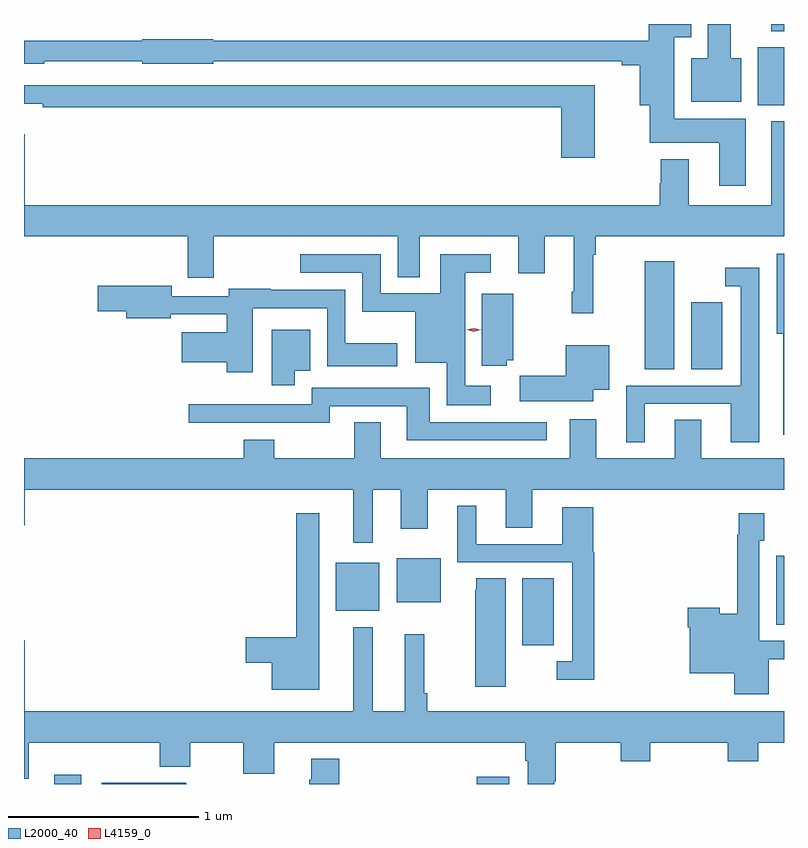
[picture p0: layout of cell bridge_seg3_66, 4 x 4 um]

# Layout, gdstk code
import gdstk
lib = gdstk.Library(unit=1e-6, precision=1e-09)
def R(c, l, rs):  # rectangles x0, y0, x1, y1
    for r in rs: c.add(gdstk.rectangle(r[:2], r[2:], *l))
def P(c, l, *ps):  # polygons
    for p in ps: c.add(gdstk.Polygon(p, *l))
L2000_40 = (2000, 40)
L4159_0 = (4159, 0)

bridge_seg3_66 = lib.new_cell('bridge_seg3_66')
R(bridge_seg3_66, L2000_40, [(572.921,674.058,573.061,674.107), (575.144,674.058,575.314,674.095), (575.384,674.787,575.548,675.14), (576.719,674.896,576.761,675.259), (574.403,674.969,574.63,675.223), (574.724,675.014,574.954,675.247), (576.029,676.24,576.184,676.81), (576.272,676.24,576.436,676.594), (576.623,677.63,576.761,677.935), (576.695,678.02,576.761,678.058)])
P(bridge_seg3_66, L2000_40, [(576.535,677.878),(576.481,677.878),(576.481,678.058),(576.359,678.058),(576.359,677.878),(576.272,677.878),(576.272,677.648),(576.535,677.648)],
  [(576.559,677.56),(576.184,677.56),(576.184,677.987),(576.274,677.987),(576.274,678.058),(576.05,678.058),(576.05,677.971),(573.756,677.971),(573.756,677.979),(573.384,677.979),(573.384,677.971),(572.761,677.971),(572.761,677.849),(572.868,677.849),(572.868,677.862),(573.384,677.862),(573.384,677.849),(573.756,677.849),(573.756,677.862),(575.906,677.862),(575.906,677.842),(576.002,677.842),(576.002,677.63),(576.055,677.63),(576.055,677.432),(576.419,677.432),(576.419,677.208),(576.559,677.208)],
  [(575.766,677.736),(572.761,677.736),(572.761,677.639),(572.86,677.639),(572.86,677.62),(575.588,677.62),(575.588,677.355),(575.766,677.355)],
  [(575.756,676.844),(575.771,676.844),(575.771,676.94),(576.761,676.94),(576.761,677.545),(576.695,677.545),(576.695,677.104),(576.259,677.104),(576.259,677.347),(576.112,677.347),(576.112,677.22),(576.107,677.22),(576.107,677.104),(572.764,677.104),(572.764,677.479),(572.761,677.479),(572.761,676.94),(573.623,676.94),(573.623,676.722),(573.759,676.722),(573.759,676.94),(574.727,676.94),(574.727,676.726),(574.843,676.726),(574.843,676.94),(575.363,676.94),(575.363,676.746),(575.503,676.746),(575.503,676.94),(575.654,676.94),(575.654,676.648),(575.643,676.648),(575.643,676.536),(575.756,676.536)],
  [(576.761,676.849),(576.722,676.849),(576.722,676.427),(576.756,676.427),(576.756,675.897),(576.761,675.897)],
  [(575.218,676.153),(575.083,676.153),(575.083,676.749),(575.218,676.749),(575.218,676.845),(574.952,676.845),(574.952,676.641),(574.638,676.641),(574.638,676.845),(574.215,676.845),(574.215,676.749),(574.542,676.749),(574.542,676.544),(574.82,676.544),(574.82,676.274),(574.986,676.274),(574.986,676.052),(575.218,676.052)],
  [(576.028,676.059),(576.482,676.059),(576.482,675.858),(576.63,675.858),(576.63,676.774),(576.453,676.774),(576.453,676.677),(576.534,676.677),(576.534,676.155),(575.93,676.155),(575.93,675.858),(576.028,675.858)],
  [(573.964,676.563),(574.356,676.563),(574.356,676.256),(574.726,676.256),(574.726,676.378),(574.452,676.378),(574.452,676.659),(574.06,676.659),(574.06,676.664),(573.839,676.664),(573.839,676.626),(573.538,676.626),(573.538,676.681),(573.15,676.681),(573.15,676.547),(573.299,676.547),(573.299,676.51),(573.534,676.51),(573.534,676.53),(573.827,676.53),(573.827,676.435),(573.591,676.435),(573.591,676.277),(573.827,676.277),(573.827,676.224),(573.964,676.224)],
  [(575.301,676.289),(575.336,676.289),(575.336,676.639),(575.171,676.639),(575.171,676.259),(575.301,676.259)],
  [(574.186,676.232),(574.267,676.232),(574.267,676.45),(574.064,676.45),(574.064,676.158),(574.186,676.158)],
  [(575.758,676.133),(575.842,676.133),(575.842,676.366),(575.612,676.366),(575.612,676.208),(575.37,676.208),(575.37,676.073),(575.758,676.073)],
  [(575.512,675.963),(574.897,675.963),(574.897,676.143),(574.275,676.143),(574.275,676.056),(573.968,676.056),(573.968,676.057),(573.627,676.057),(573.627,675.96),(574.165,675.96),(574.165,675.959),(574.371,675.959),(574.371,676.047),(574.775,676.047),(574.775,675.867),(575.512,675.867)],
  [(574.639,675.962),(574.499,675.962),(574.499,675.772),(574.077,675.772),(574.077,675.871),(573.917,675.871),(573.917,675.772),(572.761,675.772),(572.761,675.42),(572.764,675.42),(572.764,675.608),(574.493,675.608),(574.493,675.327),(574.597,675.327),(574.597,675.608),(574.745,675.608),(574.745,675.402),(574.885,675.402),(574.885,675.608),(575.297,675.608),(575.297,675.406),(575.437,675.406),(575.437,675.608),(576.761,675.608),(576.761,675.772),(576.325,675.772),(576.325,675.974),(576.185,675.974),(576.185,675.772),(575.773,675.772),(575.773,675.979),(575.633,675.979),(575.633,675.772),(574.639,675.772)],
  [(575.762,675.278),(575.758,675.278),(575.758,675.514),(575.594,675.514),(575.594,675.321),(575.14,675.321),(575.14,675.523),(575.042,675.523),(575.042,675.225),(575.646,675.225),(575.646,674.703),(575.565,674.703),(575.565,674.606),(575.762,674.606)],
  [(576.682,674.715),(576.761,674.715),(576.761,674.811),(576.63,674.811),(576.63,675.339),(576.657,675.339),(576.657,675.484),(576.522,675.484),(576.522,675.371),(576.514,675.371),(576.514,674.953),(576.424,674.953),(576.424,674.986),(576.254,674.986),(576.254,674.882),(576.266,674.882),(576.266,674.642),(576.5,674.642),(576.5,674.531),(576.682,674.531)],
  [(574.315,675.484),(574.194,675.484),(574.194,674.831),(573.927,674.831),(573.927,674.696),(574.064,674.696),(574.064,674.555),(574.315,674.555)],
  [(575.296,675.14),(575.141,675.14),(575.141,675.081),(575.135,675.081),(575.135,674.571),(575.296,674.571)],
  [(575.551,674.072),(575.559,674.072),(575.559,674.276),(575.902,674.276),(575.902,674.177),(576.057,674.177),(576.057,674.276),(576.466,674.276),(576.466,674.177),(576.626,674.177),(576.626,674.276),(576.761,674.276),(576.761,674.44),(574.883,674.44),(574.883,674.536),(574.868,674.536),(574.868,674.845),(574.766,674.845),(574.766,674.44),(574.597,674.44),(574.597,674.884),(574.493,674.884),(574.493,674.44),(572.764,674.44),(572.764,674.815),(572.761,674.815),(572.761,674.086),(572.785,674.086),(572.785,674.276),(573.476,674.276),(573.476,674.15),(573.637,674.15),(573.637,674.276),(573.914,674.276),(573.914,674.112),(574.078,674.112),(574.078,674.276),(575.399,674.276),(575.399,674.18),(575.411,674.18),(575.411,674.058),(575.551,674.058)],
  [(574.421,674.191),(574.274,674.191),(574.274,674.081),(574.262,674.081),(574.262,674.058),(574.421,674.058)],
  [(573.611,674.065),(573.171,674.065),(573.171,674.058),(573.618,674.058)])
P(bridge_seg3_66, L4159_0, [(575.128,676.438),(575.09,676.448),(575.09,676.448),(575.09,676.449),(575.128,676.458),(575.166,676.448),(575.166,676.448),(575.166,676.448)])

lib.write_gds('bridge_seg3_66.gds')
